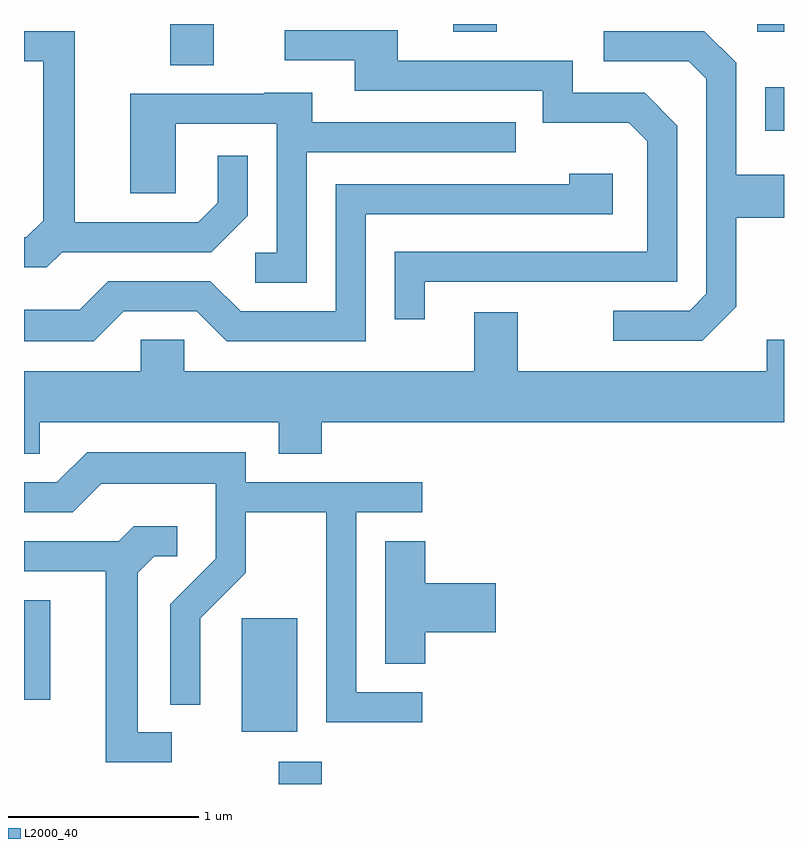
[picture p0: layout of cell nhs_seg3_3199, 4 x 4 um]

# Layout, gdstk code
import gdstk
lib = gdstk.Library(unit=1e-6, precision=1e-09)
def R(c, l, rs):  # rectangles x0, y0, x1, y1
    for r in rs: c.add(gdstk.rectangle(r[:2], r[2:], *l))
def P(c, l, *ps):  # polygons
    for p in ps: c.add(gdstk.Polygon(p, *l))
L2000_40 = (2000, 40)

nhs_seg3_3199 = lib.new_cell('nhs_seg3_3199')
R(nhs_seg3_3199, L2000_40, [(280.951,1121.892,281.179,1122.009), (280.756,1122.166,281.049,1122.764), (279.611,1122.336,279.749,1122.859), (283.511,1125.331,283.611,1125.559), (280.381,1125.676,280.609,1125.892), (281.871,1125.851,282.099,1125.892), (283.471,1125.851,283.611,1125.892)])
P(nhs_seg3_3199, L2000_40, [(281.719,1124.536),(283.049,1124.536),(283.049,1125.357),(282.877,1125.529),(282.499,1125.529),(282.499,1125.699),(281.579,1125.699),(281.579,1125.859),(280.983,1125.859),(280.983,1125.701),(281.351,1125.701),(281.351,1125.541),(282.341,1125.541),(282.341,1125.371),(282.794,1125.371),(282.891,1125.274),(282.891,1124.694),(281.561,1124.694),(281.561,1124.338),(281.719,1124.338)],
  [(279.812,1124.691),(280.597,1124.691),(280.789,1124.884),(280.789,1125.198),(280.631,1125.198),(280.631,1124.952),(280.529,1124.849),(279.879,1124.849),(279.879,1125.854),(279.611,1125.854),(279.611,1125.696),(279.711,1125.696),(279.711,1124.857),(279.624,1124.769),(279.611,1124.769),(279.611,1124.611),(279.732,1124.611)],
  [(283.359,1124.404),(283.359,1124.871),(283.611,1124.871),(283.611,1125.099),(283.359,1125.099),(283.359,1125.687),(283.192,1125.854),(282.663,1125.854),(282.663,1125.696),(283.109,1125.696),(283.201,1125.604),(283.201,1124.472),(283.114,1124.384),(282.713,1124.384),(282.713,1124.226),(283.182,1124.226)],
  [(281.099,1125.216),(282.198,1125.216),(282.198,1125.374),(281.129,1125.374),(281.129,1125.529),(280.875,1125.529),(280.875,1125.524),(280.171,1125.524),(280.171,1125.001),(280.409,1125.001),(280.409,1125.366),(280.941,1125.366),(280.941,1124.689),(280.828,1124.689),(280.828,1124.531),(281.099,1124.531)],
  [(280.137,1124.381),(280.519,1124.381),(280.679,1124.221),(281.409,1124.221),(281.409,1124.891),(282.709,1124.891),(282.709,1125.104),(282.481,1125.104),(282.481,1125.049),(281.251,1125.049),(281.251,1124.379),(280.752,1124.379),(280.592,1124.539),(280.054,1124.539),(279.904,1124.389),(279.611,1124.389),(279.611,1124.221),(279.977,1124.221)],
  [(279.694,1123.796),(280.951,1123.796),(280.951,1123.631),(281.179,1123.631),(281.179,1123.796),(283.611,1123.796),(283.611,1124.229),(283.521,1124.229),(283.521,1124.064),(282.209,1124.064),(282.209,1124.374),(281.981,1124.374),(281.981,1124.064),(280.454,1124.064),(280.454,1124.229),(280.226,1124.229),(280.226,1124.064),(279.611,1124.064),(279.611,1123.631),(279.694,1123.631)],
  [(281.708,1122.374),(281.359,1122.374),(281.359,1123.321),(281.708,1123.321),(281.708,1123.479),(280.779,1123.479),(280.779,1123.639),(279.944,1123.639),(279.784,1123.479),(279.611,1123.479),(279.611,1123.321),(279.867,1123.321),(280.017,1123.471),(280.621,1123.471),(280.621,1123.077),(280.381,1122.837),(280.381,1122.308),(280.539,1122.308),(280.539,1122.764),(280.779,1123.004),(280.779,1123.321),(281.201,1123.321),(281.201,1122.216),(281.708,1122.216)],
  [(280.388,1122.164),(280.209,1122.164),(280.209,1123.004),(280.297,1123.091),(280.418,1123.091),(280.418,1123.249),(280.189,1123.249),(280.109,1123.169),(279.611,1123.169),(279.611,1123.011),(280.041,1123.011),(280.041,1122.006),(280.388,1122.006)],
  [(281.724,1122.691),(282.094,1122.691),(282.094,1122.949),(281.724,1122.949),(281.724,1123.169),(281.511,1123.169),(281.511,1122.526),(281.724,1122.526)])

lib.write_gds('nhs_seg3_3199.gds')
